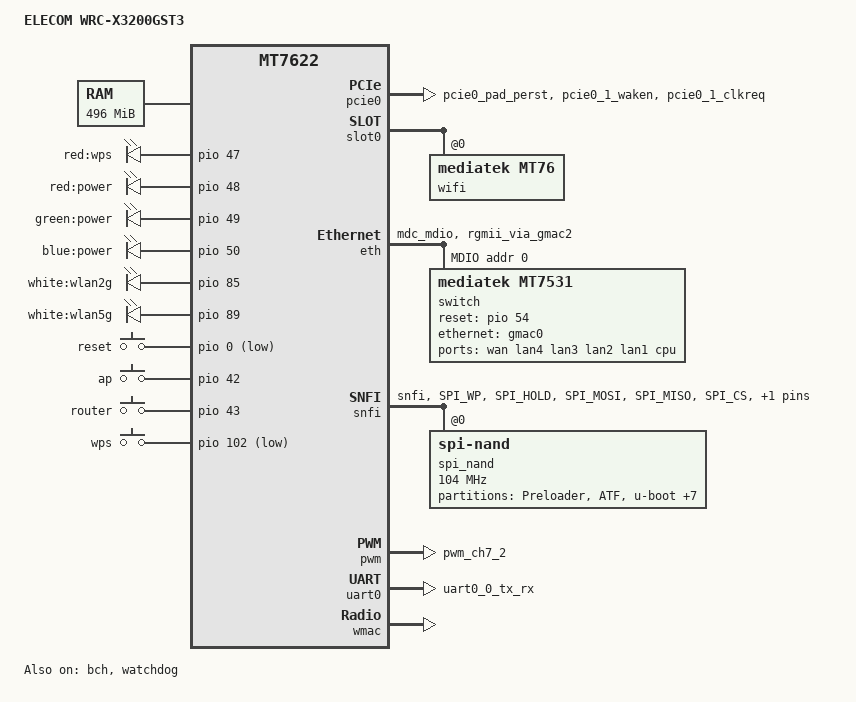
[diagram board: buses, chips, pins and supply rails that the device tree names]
// SPDX-License-Identifier: GPL-2.0-or-later OR MIT
/dts-v1/;

#include <dt-bindings/input/input.h>
#include <dt-bindings/gpio/gpio.h>

#include "mt7622.dtsi"
#include "mt6380.dtsi"

/ {
	model = "ELECOM WRC-X3200GST3";
	compatible = "elecom,wrc-x3200gst3", "mediatek,mt7622";

	aliases {
		serial0 = &uart0;
		led-boot = &led_power_green;
		led-failsafe = &led_power_red;
		led-running = &led_power_green;
		led-upgrade = &led_power_green;
		label-mac-device = &wan;
	};

	chosen {
		bootargs = "earlycon=uart8250,mmio32,0x11002000 console=ttyS0,115200n8 swiotlb=512";
	};

	memory {
		reg = <0 0x40000000 0 0x1F000000>;
	};

	leds {
		compatible = "gpio-leds";

		wps {
			label = "red:wps";
			gpios = <&pio 47 GPIO_ACTIVE_HIGH>;
		};

		led_power_red: power_red {
			label = "red:power";
			gpios = <&pio 48 GPIO_ACTIVE_HIGH>;
		};

		led_power_green: power_green {
			label = "green:power";
			gpios = <&pio 49 GPIO_ACTIVE_HIGH>;
		};

		power_blue {
			label = "blue:power";
			gpios = <&pio 50 GPIO_ACTIVE_HIGH>;
		};

		wlan2g {
			label = "white:wlan2g";
			gpios = <&pio 85 GPIO_ACTIVE_HIGH>;
			linux,default-trigger = "phy0tpt";
		};

		wlan5g {
			label = "white:wlan5g";
			gpios = <&pio 89 GPIO_ACTIVE_HIGH>;
			linux,default-trigger = "phy1radio";
		};
	};

	keys {
		compatible = "gpio-keys";

		reset {
			label = "reset";
			gpios = <&pio 0 GPIO_ACTIVE_LOW>;
			linux,code = <KEY_RESTART>;
		};

		ap {
			label = "ap";
			gpios = <&pio 42 GPIO_ACTIVE_HIGH>;
			linux,code = <BTN_0>;
			linux,input-type = <EV_SW>;
		};

		router {
			label = "router";
			gpios = <&pio 43 GPIO_ACTIVE_HIGH>;
			linux,code = <BTN_1>;
			linux,input-type = <EV_SW>;
		};

		wps {
			label = "wps";
			gpios = <&pio 102 GPIO_ACTIVE_LOW>;
			linux,code = <KEY_WPS_BUTTON>;
		};
	};
};

&bch {
	status = "okay";
};

&cpu0 {
	proc-supply = <&mt6380_vcpu_reg>;
	sram-supply = <&mt6380_vm_reg>;
};

&cpu1 {
	proc-supply = <&mt6380_vcpu_reg>;
	sram-supply = <&mt6380_vm_reg>;
};

&pcie0 {
	pinctrl-names = "default";
	pinctrl-0 = <&pcie0_pins>;
	status = "okay";
};

&slot0 {
	status = "okay";

	wifi@0,0 {
		compatible = "mediatek,mt76";
		reg = <0x0000 0 0 0 0>;
		mediatek,mtd-eeprom = <&factory 0x5000>;
		ieee80211-freq-limit = <5000000 6000000>;
	};
};

&pio {
	eth_pins: eth-pins {
		mux {
			function = "eth";
			groups = "mdc_mdio", "rgmii_via_gmac2";
		};
	};

	pcie0_pins: pcie0-pins {
		mux {
			function = "pcie";
			groups = "pcie0_pad_perst",
				 "pcie0_1_waken",
				 "pcie0_1_clkreq";
		};
	};

	pmic_bus_pins: pmic-bus-pins {
		mux {
			function = "pmic";
			groups = "pmic_bus";
		};
	};

	pwm7_pins: pwm1-2-pins {
		mux {
			function = "pwm";
			groups = "pwm_ch7_2";
		};
	};

	/* Serial NAND is shared pin with SPI-NOR */
	serial_nand_pins: serial-nand-pins {
		mux {
			function = "flash";
			groups = "snfi";
		};

		conf-cmd-data {
			pins = "SPI_WP", "SPI_HOLD", "SPI_MOSI",
			       "SPI_MISO", "SPI_CS";
			drive-strength = <16>;
			bias-pull-up;
		};

		conf-clk {
			pins = "SPI_CLK";
			drive-strength = <16>;
			bias-pull-down;
		};
	};

	uart0_pins: uart0-pins {
		mux {
			function = "uart";
			groups = "uart0_0_tx_rx" ;
		};
	};

	watchdog_pins: watchdog-pins {
		mux {
			function = "watchdog";
			groups = "watchdog";
		};
	};
};

&eth {
	pinctrl-names = "default";
	pinctrl-0 = <&eth_pins>;
	status = "okay";

	gmac0: mac@0 {
		compatible = "mediatek,eth-mac";
		reg = <0>;

		phy-connection-type = "2500base-x";

		mtd-mac-address = <&factory 0x7fff4>;

		fixed-link {
			speed = <2500>;
			full-duplex;
			pause;
		};
	};

	mdio-bus {
		#address-cells = <1>;
		#size-cells = <0>;

		switch@0 {
			compatible = "mediatek,mt7531";
			reg = <0>;
			reset-gpios = <&pio 54 0>;

			ports {
				#address-cells = <1>;
				#size-cells = <0>;

				wan: port@0 {
					reg = <0>;
					label = "wan";

					mtd-mac-address = <&factory 0x7fffa>;
				};

				port@1 {
					reg = <1>;
					label = "lan4";
				};

				port@2 {
					reg = <2>;
					label = "lan3";
				};

				port@3 {
					reg = <3>;
					label = "lan2";
				};

				port@4 {
					reg = <4>;
					label = "lan1";
				};

				port@6 {
					reg = <6>;
					label = "cpu";
					ethernet = <&gmac0>;
					phy-mode = "2500base-x";

					fixed-link {
						speed = <2500>;
						full-duplex;
						pause;
					};
				};
			};
		};
	};
};

&snfi {
	pinctrl-names = "default";
	pinctrl-0 = <&serial_nand_pins>;
	status = "okay";

	spi_nand@0 {
		compatible = "spi-nand";
		spi-max-frequency = <104000000>;
		reg = <0>;

		partitions {
			compatible = "fixed-partitions";
			#address-cells = <1>;
			#size-cells = <1>;

			partition@0 {
				label = "Preloader";
				reg = <0x0 0x80000>;
				read-only;
			};

			partition@80000 {
				label = "ATF";
				reg = <0x80000 0x40000>;
				read-only;
			};

			partition@c0000 {
				label = "u-boot";
				reg = <0xc0000 0x80000>;
				read-only;
			};

			partition@140000 {
				label = "u-boot-env";
				reg = <0x140000 0x80000>;
				read-only;
			};

			factory: partition@1c0000 {
				label = "factory";
				reg = <0x1c0000 0x100000>;
				read-only;
			};

			partition@2c0000 {
				label = "kernel";
				reg = <0x2c0000 0x600000>;
			};

			partition@8c0000 {
				label = "ubi";
				reg = <0x8c0000 0x1300000>;
			};

			partition@1bc0000 {
				label = "tm_pattern";
				reg = <0x1bc0000 0x500000>;
				read-only;
			};

			partition@20c0000 {
				label = "tm_key";
				reg = <0x20c0000 0x100000>;
				read-only;
			};

			partition@21c0000 {
				label = "user_data";
				reg = <0x21c0000 0xf00000>;
				read-only;
			};
		};
	};
};

&pwm {
	pinctrl-names = "default";
	pinctrl-0 = <&pwm7_pins>;
	status = "okay";
};

&pwrap {
	pinctrl-names = "default";
	pinctrl-0 = <&pmic_bus_pins>;
	status = "okay";
};

&uart0 {
	pinctrl-names = "default";
	pinctrl-0 = <&uart0_pins>;
	status = "okay";
};

&watchdog {
	pinctrl-names = "default";
	pinctrl-0 = <&watchdog_pins>;
	status = "okay";
};

&wmac {
	status = "okay";

	mediatek,mtd-eeprom = <&factory 0x0>;
};

&rtc {
	status = "disabled";
};
